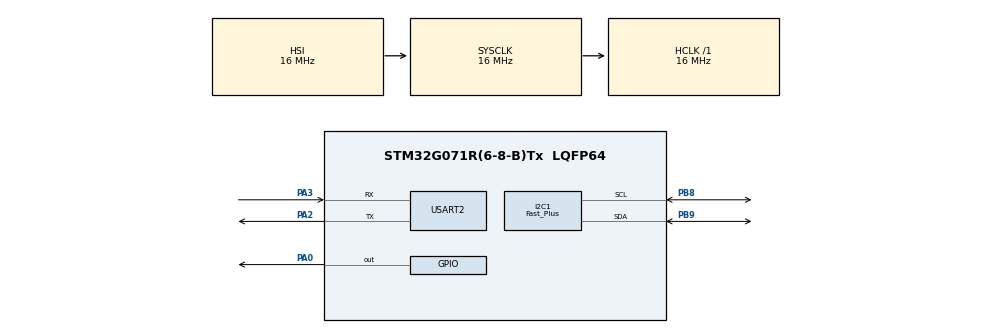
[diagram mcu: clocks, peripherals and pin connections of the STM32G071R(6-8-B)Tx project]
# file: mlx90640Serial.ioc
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I2C1.I2C_Speed_Mode=I2C_Fast_Plus
I2C1.Speed=900
I2C1.Timing=0x00000109
Mcu.Family=STM32G0
Mcu.Name=STM32G071R(6-8-B)Tx
Mcu.Package=LQFP64
NVIC.USART2_IRQn=true\:0\:0\:false\:false\:true\:true\:true
PA0.Signal=GPIO_Output
PA2.Mode=Asynchronous
PA2.Signal=USART2_TX
PA3.Mode=Asynchronous
PA3.Signal=USART2_RX
PB8.Mode=I2C
PB8.Signal=I2C1_SCL
PB9.Mode=I2C
PB9.Signal=I2C1_SDA
ProjectManager.HeapSize=0x200
ProjectManager.StackSize=0x400
ProjectManager.TargetToolchain=TrueSTUDIO
RCC.AHBFreq_Value=16000000
RCC.CortexFreq_Value=16000000
RCC.EXTERNAL_CLOCK_VALUE=12288000
RCC.HCLKFreq_Value=16000000
RCC.HSE_VALUE=8000000
RCC.HSI_VALUE=16000000
RCC.LSE_VALUE=32768
RCC.SYSCLKFreq_VALUE=16000000
RCC.VCOOutputFreq_Value=128000000
USART2.VirtualMode-Asynchronous=VM_ASYNC
USART2.WordLength=WORDLENGTH_8B
VP_SYS_VS_DBSignals.Mode=DisableDeadBatterySignals
board=NUCLEO-G071RB

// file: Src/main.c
/* USER CODE BEGIN Header */
/**
  ******************************************************************************
  * @file           : main.c
  * @brief          : Main program body
  ******************************************************************************
  * @attention
  *
  * <h2><center>&copy; Copyright (c) 2019 STMicroelectronics.
  * All rights reserved.</center></h2>
  *
  * This software component is licensed by ST under BSD 3-Clause license,
  * the "License"; You may not use this file except in compliance with the
  * License. You may obtain a copy of the License at:
  *                        opensource.org/licenses/BSD-3-Clause
  *
  ******************************************************************************
  */
/* USER CODE END Header */

#include "main.h"

/* USER CODE BEGIN Includes */
#include <stdio.h>
#include "mlx90640/include/tImageCollector.h"
#include "mlx90640/include/MLX90640_I2C_Driver.h"
/* USER CODE END Includes */

I2C_HandleTypeDef hi2c1;

UART_HandleTypeDef huart2;

void SystemClock_Config(void);
static void MX_GPIO_Init(void);
static void MX_I2C1_Init(void);
static void MX_USART2_UART_Init(void);

int main(void)
{

  /* MCU Configuration--------------------------------------------------------*/

  /* Reset of all peripherals, Initializes the Flash interface and the Systick. */
  HAL_Init();

  /* Configure the system clock */
  SystemClock_Config();

  /* Initialize all configured peripherals */
  MX_GPIO_Init();
  MX_I2C1_Init();
  MX_USART2_UART_Init();

  /* USER CODE BEGIN 2 */
  printf("\n\n\n\n****** newSession ******\n\n");

  uint8_t regBuffer[2];
  uint16_t targetAddr = 0x800D;
  regBuffer[1] = ((uint16_t)targetAddr) >> 8;
  regBuffer[0] = targetAddr & 0x00FF;
  uint8_t buffer[4];
  HAL_StatusTypeDef status;
  int deviceReadyFlag = 0;

  int resolutionRam;

  int currentMode = 1;

  ThermalBag thermalBag;
  thermalBag.emissivity = 0.95;

  status = HAL_I2C_IsDeviceReady(&hi2c1,0x33<<1,2,200);

  if(status != HAL_OK)
	  printf("i2c device was not ready\n");
  else{
	  printf("device responded \n");
	  deviceReadyFlag = 1;
  }

  /* USER CODE END 2 */

  /* Infinite loop */
  while (1)
  {

    /* USER CODE BEGIN 3 */
	  if(deviceReadyFlag){

		  //getThermalArray(&thermalBag);

		  //printf("thermalArray[0] = %f \n",thermalBag.mlx90640To[0]);

//		  MLX90640_DumpEE(0x33, &(thermalBag.eeMLX90640));

		  uint16_t eeData[832];
		//  MLX90640_I2CRead(0x33, 0x2400, 832, eeData);

		//  for(int i = 0; i < 10; i++)
		//	  printf("eeData[%d] = %d,",i+500,eeData[i+500]);
		//  printf("\n");

			int nMemAddressRead = 832;
			int startAddress = 0x2400;

			HAL_StatusTypeDef status;
			uint8_t i2cData[nMemAddressRead * 2];
			status = HAL_I2C_Mem_Read(&hi2c1, 0x33 << 1, startAddress, I2C_MEMADD_SIZE_16BIT, i2cData, nMemAddressRead * 2  , 10);
			if(status != HAL_OK){
				printf("i2c read error : %d\n",status);
			}

		  HAL_I2C_Mem_Read(&hi2c1, 0x33<<1, targetAddr, 2, buffer, 2, 10);
		  uint16_t readValue = (((uint16_t)buffer[0]) << 8) | (uint16_t)buffer[1];
		  resolutionRam = (readValue & 0x1000) >> 12;
		  printf("readvalue = %d\n",resolutionRam);

		  //printf("buffer[0] : %d, buffer[1] : %d , buffer[2] : %d, buffer[3] : %d\n",buffer[0], buffer[1],buffer[2], buffer[3]);

		  int value = currentMode == 1 ? (readValue & 0xEFFF) : (readValue | 0x1000);
		  buffer[0] = (uint8_t)(value >> 8);
		  buffer[1] = (uint8_t)(value && 0x00FF);

		  HAL_I2C_Mem_Write(&hi2c1, 0x33<<1, targetAddr, 2, buffer, 2, 10);

		  currentMode = currentMode == 1 ? 0 : 1;

	  }

	  HAL_Delay(500);
  }
  /* USER CODE END 3 */
}

void SystemClock_Config(void)
{
  RCC_OscInitTypeDef RCC_OscInitStruct = {0};
  RCC_ClkInitTypeDef RCC_ClkInitStruct = {0};
  RCC_PeriphCLKInitTypeDef PeriphClkInit = {0};

  /** Configure the main internal regulator output voltage
  */
  HAL_PWREx_ControlVoltageScaling(PWR_REGULATOR_VOLTAGE_SCALE1);
  /** Initializes the CPU, AHB and APB busses clocks
  */
  RCC_OscInitStruct.OscillatorType = RCC_OSCILLATORTYPE_HSI;
  RCC_OscInitStruct.HSIState = RCC_HSI_ON;
  RCC_OscInitStruct.HSIDiv = RCC_HSI_DIV1;
  RCC_OscInitStruct.HSICalibrationValue = RCC_HSICALIBRATION_DEFAULT;
  RCC_OscInitStruct.PLL.PLLState = RCC_PLL_NONE;
  if (HAL_RCC_OscConfig(&RCC_OscInitStruct) != HAL_OK)
  {
    Error_Handler();
  }
  /** Initializes the CPU, AHB and APB busses clocks
  */
  RCC_ClkInitStruct.ClockType = RCC_CLOCKTYPE_HCLK|RCC_CLOCKTYPE_SYSCLK
                              |RCC_CLOCKTYPE_PCLK1;
  RCC_ClkInitStruct.SYSCLKSource = RCC_SYSCLKSOURCE_HSI;
  RCC_ClkInitStruct.AHBCLKDivider = RCC_SYSCLK_DIV1;
  RCC_ClkInitStruct.APB1CLKDivider = RCC_HCLK_DIV1;

  if (HAL_RCC_ClockConfig(&RCC_ClkInitStruct, FLASH_LATENCY_0) != HAL_OK)
  {
    Error_Handler();
  }
  /** Initializes the peripherals clocks
  */
  PeriphClkInit.PeriphClockSelection = RCC_PERIPHCLK_USART2|RCC_PERIPHCLK_I2C1;
  PeriphClkInit.Usart2ClockSelection = RCC_USART2CLKSOURCE_PCLK1;
  PeriphClkInit.I2c1ClockSelection = RCC_I2C1CLKSOURCE_PCLK1;
  if (HAL_RCCEx_PeriphCLKConfig(&PeriphClkInit) != HAL_OK)
  {
    Error_Handler();
  }
}

static void MX_I2C1_Init(void)
{

  hi2c1.Instance = I2C1;
  hi2c1.Init.Timing = 0x00000109;
  hi2c1.Init.OwnAddress1 = 0;
  hi2c1.Init.AddressingMode = I2C_ADDRESSINGMODE_7BIT;
  hi2c1.Init.DualAddressMode = I2C_DUALADDRESS_DISABLE;
  hi2c1.Init.OwnAddress2 = 0;
  hi2c1.Init.OwnAddress2Masks = I2C_OA2_NOMASK;
  hi2c1.Init.GeneralCallMode = I2C_GENERALCALL_DISABLE;
  hi2c1.Init.NoStretchMode = I2C_NOSTRETCH_DISABLE;
  if (HAL_I2C_Init(&hi2c1) != HAL_OK)
  {
    Error_Handler();
  }
  /** Configure Analogue filter
  */
  if (HAL_I2CEx_ConfigAnalogFilter(&hi2c1, I2C_ANALOGFILTER_ENABLE) != HAL_OK)
  {
    Error_Handler();
  }
  /** Configure Digital filter
  */
  if (HAL_I2CEx_ConfigDigitalFilter(&hi2c1, 0) != HAL_OK)
  {
    Error_Handler();
  }
  /** I2C Fast mode Plus enable
  */
  HAL_I2CEx_EnableFastModePlus(I2C_FASTMODEPLUS_I2C1);

}

static void MX_USART2_UART_Init(void)
{

  huart2.Instance = USART2;
  huart2.Init.BaudRate = 115200;
  huart2.Init.WordLength = UART_WORDLENGTH_8B;
  huart2.Init.StopBits = UART_STOPBITS_1;
  huart2.Init.Parity = UART_PARITY_NONE;
  huart2.Init.Mode = UART_MODE_TX_RX;
  huart2.Init.HwFlowCtl = UART_HWCONTROL_NONE;
  huart2.Init.OverSampling = UART_OVERSAMPLING_16;
  huart2.Init.OneBitSampling = UART_ONE_BIT_SAMPLE_DISABLE;
  huart2.Init.ClockPrescaler = UART_PRESCALER_DIV1;
  huart2.AdvancedInit.AdvFeatureInit = UART_ADVFEATURE_NO_INIT;
  if (HAL_UART_Init(&huart2) != HAL_OK)
  {
    Error_Handler();
  }
  if (HAL_UARTEx_SetTxFifoThreshold(&huart2, UART_TXFIFO_THRESHOLD_1_8) != HAL_OK)
  {
    Error_Handler();
  }
  if (HAL_UARTEx_SetRxFifoThreshold(&huart2, UART_RXFIFO_THRESHOLD_1_8) != HAL_OK)
  {
    Error_Handler();
  }
  if (HAL_UARTEx_DisableFifoMode(&huart2) != HAL_OK)
  {
    Error_Handler();
  }

}

static void MX_GPIO_Init(void)
{
  GPIO_InitTypeDef GPIO_InitStruct = {0};

  /* GPIO Ports Clock Enable */
  __HAL_RCC_GPIOA_CLK_ENABLE();
  __HAL_RCC_GPIOB_CLK_ENABLE();

  /*Configure GPIO pin Output Level */
  HAL_GPIO_WritePin(GPIOA, GPIO_PIN_0, GPIO_PIN_RESET);

  /*Configure GPIO pin : PA0 */
  GPIO_InitStruct.Pin = GPIO_PIN_0;
  GPIO_InitStruct.Mode = GPIO_MODE_OUTPUT_PP;
  GPIO_InitStruct.Pull = GPIO_NOPULL;
  GPIO_InitStruct.Speed = GPIO_SPEED_FREQ_LOW;
  HAL_GPIO_Init(GPIOA, &GPIO_InitStruct);

}

/* USER CODE BEGIN 4 */
int __io_putchar(int ch)
{
 uint8_t c[1];
 c[0] = ch & 0x00FF;
 HAL_UART_Transmit(&huart2, &*c, 1, 10);
 return ch;
}

int _write(int file,char *ptr, int len)
{
 int DataIdx;
 for(DataIdx= 0; DataIdx< len; DataIdx++)
 {
 __io_putchar(*ptr++);
 }
return len;
}

/* USER CODE END 4 */

void Error_Handler(void)
{
}

/************************ (C) COPYRIGHT STMicroelectronics *****END OF FILE****/
